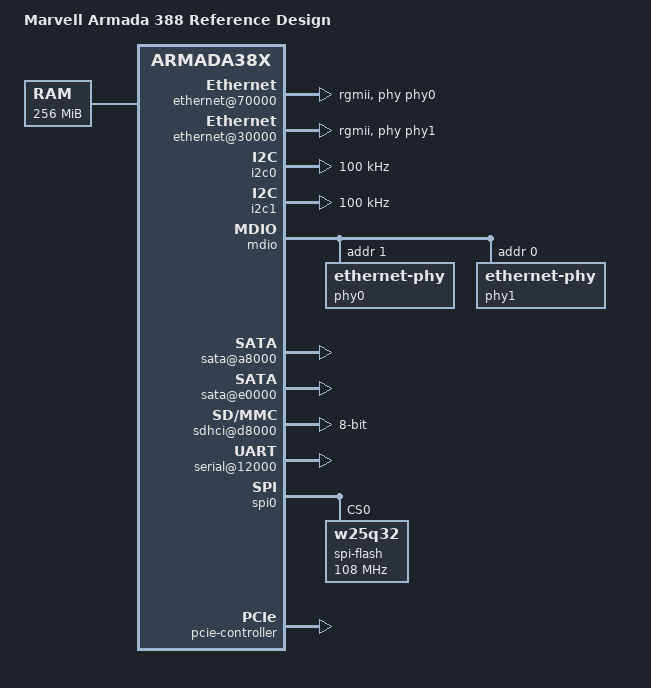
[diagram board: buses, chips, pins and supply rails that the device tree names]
/*
 * Device Tree file for Marvell Armada 388 Reference Design board
 * (RB-88F6828-NAS)
 *
 *  Copyright (C) 2013 Marvell
 *
 * Nadav Haklai <nadavh@marvell.com>
 *
 * This file is licensed under the terms of the GNU General Public
 * License version 2.  This program is licensed "as is" without any
 * warranty of any kind, whether express or implied.
 */

/dts-v1/;
#include "armada-385-388.dtsi"

/ {
	model = "Marvell Armada 388 Reference Design";
	compatible = "marvell,a388-rd", "marvell,armada388", "marvell,armada38x";

	chosen {
		bootargs = "console=ttyS0,115200 earlyprintk";
	};

	memory {
		device_type = "memory";
		reg = <0x00000000 0x10000000>; /* 256 MB */
	};

	soc {
		ranges = <MBUS_ID(0xf0, 0x01) 0 0xf1000000 0x100000
			  MBUS_ID(0x01, 0x1d) 0 0xfff00000 0x100000
			  MBUS_ID(0x09, 0x09) 0 0xf1100000 0x10000	/* CESA0: PHYS=0xf1100000
									   size 64K */
			  MBUS_ID(0x09, 0x05) 0 0xf1110000 0x10000>;	/* CESA1: PHYS=0xf1110000
									   size 64K */

		internal-regs {
			ethernet@70000 {
				status = "okay";
				phy = <&phy0>;
				phy-mode = "rgmii";
			};

			ethernet@30000 {
				status = "okay";
				phy = <&phy1>;
				phy-mode = "rgmii";
			};

			i2c0: i2c@11000 {
				status = "okay";
				clock-frequency = <100000>;
			};

			i2c1: i2c@11100 {
				status = "okay";
				clock-frequency = <100000>;
			};

			mdio {
				phy0: ethernet-phy@1 {
					reg = <1>;
				};

				phy1: ethernet-phy@0 {
					reg = <0>;
				};
			};

			sata@a8000 {
				status = "okay";
			};

			sata@e0000 {
				status = "okay";
			};

			sdhci@d8000 {
				broken-cd;
				wp-inverted;
				bus-width = <8>;
				status = "okay";
			};

			serial@12000 {
				status = "okay";
			};

			spi0: spi@10600 {
				status = "okay";

				spi-flash@0 {
					#address-cells = <1>;
					#size-cells = <1>;
					compatible = "w25q32";
					reg = <0>; /* Chip select 0 */
					spi-max-frequency = <108000000>;
				};
			};

			usb3@f8000 {
				status = "disabled";
			};

			crypto@9D000 {
				status = "okay";
			};
		};

		pcie-controller {
			status = "okay";
			/*
			 * The two PCIe units are accessible through
			 * standard PCIe slots on the board.
			 */
			pcie@1,0 {
				/* Port 0, Lane 0 */
				status = "okay";
			};
			pcie@2,0 {
				/* Port 1, Lane 0 */
				status = "disabled";
			};
		};
	};
};
